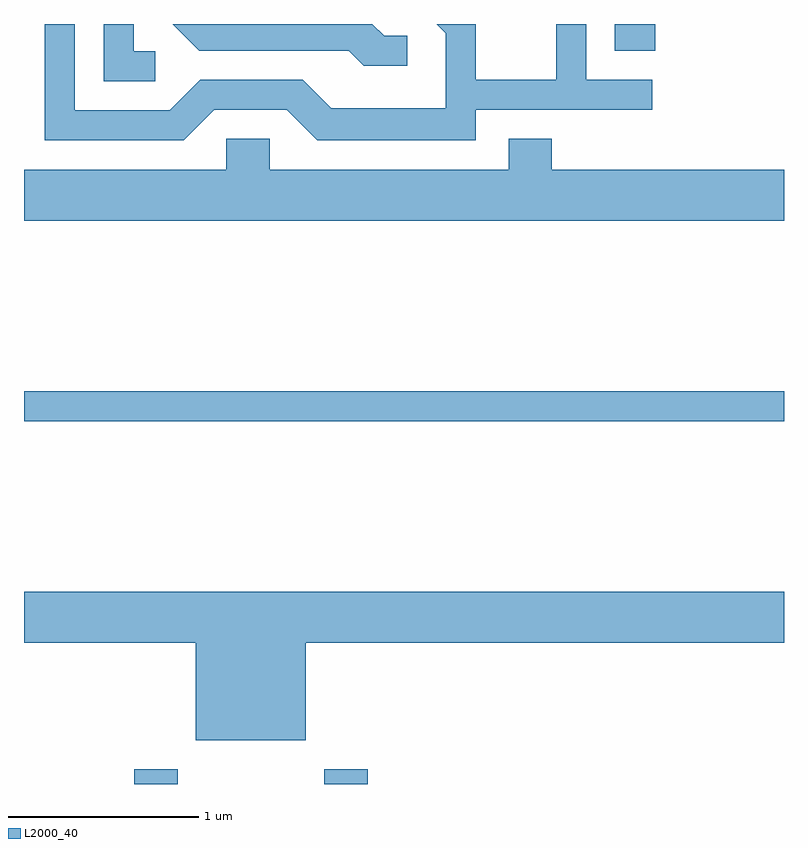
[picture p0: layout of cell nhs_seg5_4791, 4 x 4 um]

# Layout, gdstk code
import gdstk
lib = gdstk.Library(unit=1e-6, precision=1e-09)
def R(c, l, rs):  # rectangles x0, y0, x1, y1
    for r in rs: c.add(gdstk.rectangle(r[:2], r[2:], *l))
def P(c, l, *ps):  # polygons
    for p in ps: c.add(gdstk.Polygon(p, *l))
L2000_40 = (2000, 40)

nhs_seg5_4791 = lib.new_cell('nhs_seg5_4791')
R(nhs_seg5_4791, L2000_40, [(328.191,1436.072,328.419,1436.149), (329.191,1436.072,329.419,1436.149), (327.611,1437.981,331.611,1438.139), (330.721,1439.931,330.934,1440.072)])
P(nhs_seg5_4791, L2000_40, [(329.628,1440.009),(329.507,1440.009),(329.444,1440.072),(328.393,1440.072),(328.534,1439.931),(329.319,1439.931),(329.399,1439.851),(329.628,1439.851)],
  [(328.303,1439.929),(328.189,1439.929),(328.189,1440.072),(328.031,1440.072),(328.031,1439.771),(328.303,1439.771)],
  [(328.612,1439.621),(328.994,1439.621),(329.154,1439.461),(329.989,1439.461),(329.989,1439.621),(330.918,1439.621),(330.918,1439.779),(330.569,1439.779),(330.569,1440.072),(330.411,1440.072),(330.411,1439.779),(329.989,1439.779),(329.989,1440.072),(329.783,1440.072),(329.831,1440.024),(329.831,1439.629),(329.227,1439.629),(329.077,1439.779),(328.539,1439.779),(328.379,1439.619),(327.879,1439.619),(327.879,1440.072),(327.721,1440.072),(327.721,1439.461),(328.452,1439.461)],
  [(331.611,1439.304),(330.389,1439.304),(330.389,1439.469),(330.161,1439.469),(330.161,1439.304),(328.904,1439.304),(328.904,1439.469),(328.676,1439.469),(328.676,1439.304),(327.611,1439.304),(327.611,1439.036),(331.611,1439.036)],
  [(329.094,1436.816),(331.611,1436.816),(331.611,1437.084),(327.611,1437.084),(327.611,1436.816),(328.516,1436.816),(328.516,1436.301),(329.094,1436.301)])

lib.write_gds('nhs_seg5_4791.gds')
